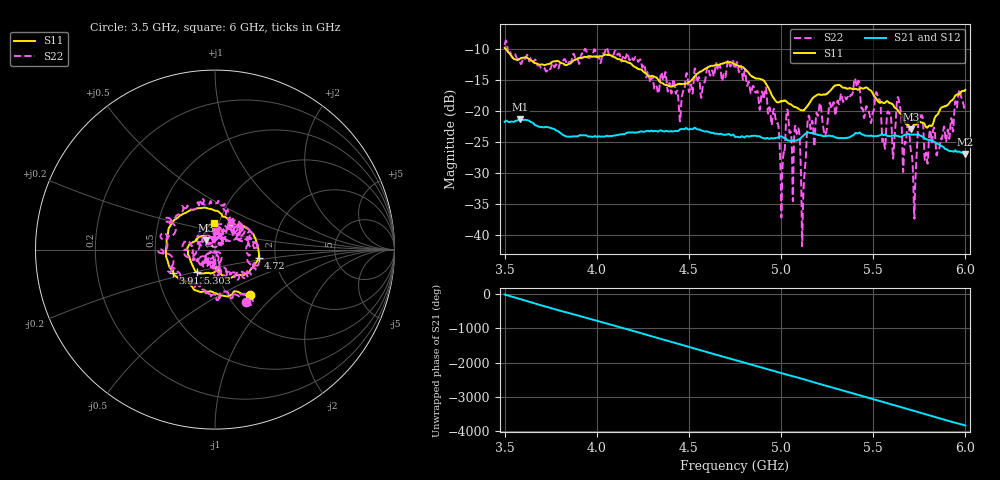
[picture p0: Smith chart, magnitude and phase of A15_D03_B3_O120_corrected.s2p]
! Created with skrf 1.9.0 (http://scikit-rf.org).
# Hz S RI R 50.0
!freq ReS11 ImS11 ReS21 ImS21 ReS12 ImS12 ReS22 ImS22
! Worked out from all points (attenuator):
!   1601 points, 3.5 GHz to 6 GHz, reference 50 ohm
!   highest |S21| = -21.39 dB at 3.584 GHz (marker M1); lowest = -26.9 dB at 6 GHz (marker M2)
!   lowest |S11| = -23.0 dB at 5.703 GHz (marker M3), VSWR 1.15, Z = 45.2 + j4.72 ohm
!   |S11| at or under -10 dB: 3.505 GHz to end of sweep
!   |S22| runs from -41.8 to -8.7 dB; largest |S21 - S12| = 0.00097
!   S11 on the Smith chart (normalised r, x): 3.5 GHz: 1.26, -0.72; 3.913 GHz: 0.60, -0.17; 4.72 GHz: 1.63, -0.16; 5.303 GHz: 0.80, -0.21; 6 GHz: 0.95, +0.28
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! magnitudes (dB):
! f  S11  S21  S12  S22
! 3.5 GHz  -9.9  -21.8  -21.8  -9.4
! 3.584 GHz  -11.6  -21.4  -21.4  -12.2
! 3.913 GHz  -11.5  -23.9  -23.9  -11.3
! 3.917 GHz  -11.5  -24.0  -23.9  -10.9
! 4.334 GHz  -15.0  -23.3  -23.3  -17.2
! 4.72 GHz  -12.1  -23.8  -23.8  -12.5
! 4.75 GHz  -12.6  -24.2  -24.1  -13.2
! 4.969 GHz  -18.3  -24.4  -24.4  -21.1
! 5.006 GHz  -18.5  -24.2  -24.2  -30.4
! 5.034 GHz  -18.7  -24.8  -24.7  -19.8
! 5.088 GHz  -19.5  -24.7  -24.7  -23.4
! 5.119 GHz  -19.9  -24.0  -24.0  -35.5
! 5.145 GHz  -19.1  -23.5  -23.4  -21.4
! 5.167 GHz  -18.1  -23.6  -23.6  -21.8
! 5.303 GHz  -15.9  -24.3  -24.3  -18.8
! 5.409 GHz  -16.5  -23.6  -23.6  -15.9
! 5.584 GHz  -18.7  -24.1  -24.0  -20.2
! 5.703 GHz  -23.0  -23.8  -23.8  -26.2
! 5.723 GHz  -22.2  -23.8  -23.8  -37.4
! 5.756 GHz  -21.8  -24.0  -24.0  -21.4
! 5.787 GHz  -22.7  -24.6  -24.5  -26.8
! 6 GHz  -16.6  -26.9  -26.9  -19.6
